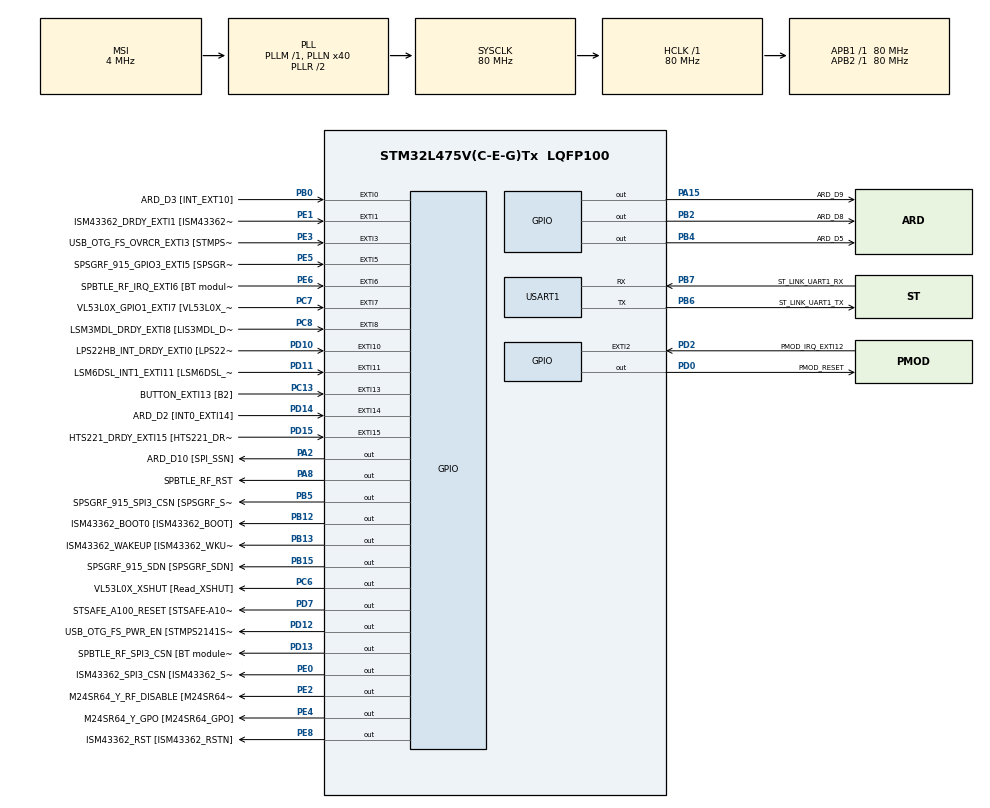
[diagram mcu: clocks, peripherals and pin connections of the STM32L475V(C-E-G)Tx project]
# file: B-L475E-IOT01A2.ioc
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Mcu.Family=STM32L4
Mcu.Name=STM32L475V(C-E-G)Tx
Mcu.Package=LQFP100
NVIC.EXTI15_10_IRQn=true\:0\:0\:false\:false\:true\:true\:true\:true
NVIC.EXTI9_5_IRQn=true\:0\:0\:false\:false\:true\:true\:true\:true
NVIC.PriorityGroup=NVIC_PRIORITYGROUP_4
PA0.GPIO_Label=ARD_D1 [UART4_TX]
PA0.Signal=UART4_TX
PA1.GPIO_Label=ARD_D0 [UART4_RX]
PA1.Signal=UART4_RX
PA10.GPIO_Label=USB_OTG_FS_ID
PA10.Signal=USB_OTG_FS_ID
PA11.GPIO_Label=USB_OTG_FS_DM
PA11.Signal=USB_OTG_FS_DM
PA12.GPIO_Label=USB_OTG_FS_DP
PA12.Signal=USB_OTG_FS_DP
PA13\ (JTMS-SWDIO).GPIO_Label=SYS_JTMS_SWDIO
PA13\ (JTMS-SWDIO).Signal=SYS_JTMS-SWDIO
PA14\ (JTCK-SWCLK).GPIO_Label=SYS_JTCK_SWCLK
PA14\ (JTCK-SWCLK).Signal=SYS_JTCK-SWCLK
PA15\ (JTDI).GPIO_Label=ARD_D9
PA15\ (JTDI).Signal=GPIO_Output
PA2.GPIO_Label=ARD_D10 [SPI_SSN]
PA2.Signal=GPIO_Output
PA3.GPIO_Label=ARD_D4
PA3.Signal=S_TIM2_CH4
PA4.GPIO_Label=ARD_D7
PA4.Signal=ADCx_IN9
PA5.GPIO_Label=ARD_D13 [SPI1_SCK]
PA5.Signal=SPI1_SCK
PA6.GPIO_Label=ARD_D12 [SPI1_MISO]
PA6.Signal=SPI1_MISO
PA7.GPIO_Label=ARD_D11 [SPI1_MOSI]
PA7.Signal=SPI1_MOSI
PA8.GPIO_Label=SPBTLE_RF_RST
PA8.Signal=GPIO_Output
PA9.GPIO_Label=USB_OTG_FS_VBUS [STMPS2141STR_OUT]
PA9.Signal=USB_OTG_FS_VBUS
PB0.GPIO_Label=ARD_D3 [INT_EXT10]
PB0.Signal=GPXTI0
PB1.GPIO_Label=ARD_D6 [ADC1_IN6]
PB1.Signal=ADCx_IN16
PB10.GPIO_Label=INTERNAL_I2C2_SCL [VL53L0X_SCL]
PB10.Signal=I2C2_SCL
PB11.GPIO_Label=INTERNAL_I2C2_SDA [VL53L0X_SDA]
PB11.Signal=I2C2_SDA
PB12.GPIO_Label=ISM43362_BOOT0 [ISM43362_BOOT]
PB12.Signal=GPIO_Output
PB13.GPIO_Label=ISM43362_WAKEUP [ISM43362_WKUP]
PB13.Signal=GPIO_Output
PB15.GPIO_Label=SPSGRF_915_SDN [SPSGRF_SDN]
PB15.Signal=GPIO_Output
PB2.GPIO_Label=ARD_D8
PB2.Signal=GPIO_Output
PB3\ (JTDO-TRACESWO).GPIO_Label=SYS_JTD0_SWO
PB3\ (JTDO-TRACESWO).Signal=SYS_JTDO-SWO
PB4\ (NJTRST).GPIO_Label=ARD_D5
PB4\ (NJTRST).Signal=GPIO_Output
PB5.GPIO_Label=SPSGRF_915_SPI3_CSN [SPSGRF_SPI_CS]
PB5.PinState=GPIO_PIN_SET
PB5.Signal=GPIO_Output
PB6.GPIO_Label=ST_LINK_UART1_TX
PB6.Mode=Asynchronous
PB6.Signal=USART1_TX
PB7.GPIO_Label=ST_LINK_UART1_RX
PB7.GPIO_PuPd=GPIO_PULLUP
PB7.Mode=Asynchronous
PB7.Signal=USART1_RX
PB8.GPIO_Label=ARD_D15 [I2C1_SCL]
PB8.Signal=I2C1_SCL
PB9.GPIO_Label=ARD_D14 [I2C1_SDA]
PB9.Signal=I2C1_SDA
PC0.GPIO_Label=ARD_A5 [ADC]
PC0.Signal=ADCx_IN1
PC1.GPIO_Label=ARD_A4 [ADC]
PC1.Signal=ADCx_IN2
PC10.GPIO_Label=INTERNAL_SPI3_SCK [BT module_SPI_SCLK] [ISM43362_SCK]
PC10.Signal=SPI3_SCK
PC11.GPIO_Label=INTERNAL_SPI3_MISO [BT module_SPI_MISO] [ISM43362_MISO]
PC11.Signal=SPI3_MISO
PC12.GPIO_Label=INTERNAL_SPI3_MOSI [BT module_SPI_MOSI] [ISM43362_MOSI]
PC12.Signal=SPI3_MOSI
PC13.GPIO_Label=BUTTON_EXTI13 [B2]
PC13.GPIO_ModeDefaultEXTI=GPIO_MODE_IT_FALLING
PC13.Signal=GPXTI13
PC14-OSC32_IN\ (PC14).Signal=RCC_OSC32_IN
PC15-OSC32_OUT\ (PC15).Signal=RCC_OSC32_OUT
PC2.GPIO_Label=ARD_A3 [ADC]
PC2.Signal=ADCx_IN3
PC3.GPIO_Label=ARD_A2 [ADC]
PC3.Signal=ADCx_IN4
PC4.GPIO_Label=ARD_A1 [ADC]
PC4.Signal=ADCx_IN13
PC5.GPIO_Label=ARD_A0 [ADC]
PC5.Signal=ADCx_IN14
PC6.GPIO_Label=VL53L0X_XSHUT [Read_XSHUT]
PC6.Signal=GPIO_Output
PC7.GPIO_Label=VL53L0X_GPIO1_EXTI7 [VL53L0X_GPIO1]
PC7.Signal=GPXTI7
PC8.GPIO_Label=LSM3MDL_DRDY_EXTI8 [LIS3MDL_DRDY]
PC8.Signal=GPXTI8
PD0.GPIO_Label=PMOD_RESET
PD0.Signal=GPIO_Output
PD1.GPIO_Label=PMOD_SPI2_SCK
PD1.Signal=SPI2_SCK
PD10.GPIO_Label=LPS22HB_INT_DRDY_EXTI0 [LPS22HB_INT_DRDY] 
PD10.Signal=GPXTI10
PD11.GPIO_Label=LSM6DSL_INT1_EXTI11 [LSM6DSL_INT1]
PD11.Signal=GPXTI11
PD12.GPIO_Label=USB_OTG_FS_PWR_EN [STMPS2141STR_EN]
PD12.Signal=GPIO_Output
PD13.GPIO_Label=SPBTLE_RF_SPI3_CSN [BT module_SPI_CS]
PD13.PinState=GPIO_PIN_SET
PD13.Signal=GPIO_Output
PD14.GPIO_Label=ARD_D2 [INT0_EXTI14]
PD14.Signal=GPXTI14
PD15.GPIO_Label=HTS221_DRDY_EXTI15 [HTS221_DRDY]
PD15.Signal=GPXTI15
PD2.GPIO_Label=PMOD_IRQ_EXTI12
PD2.Signal=GPXTI2
PD3.GPIO_Label=PMOD_UART2_CTS
PD3.Signal=USART2_CTS
PD4.GPIO_Label=PMOD_UART2_RTS
PD4.Signal=USART2_RTS
PD5.GPIO_Label=PMOD_UART2_TX
PD5.Signal=USART2_TX
PD6.GPIO_Label=PMOD_UART2_RX
PD6.Signal=USART2_RX
PD7.GPIO_Label=STSAFE_A100_RESET [STSAFE-A100_RESET]
PD7.Signal=GPIO_Output
PD8.GPIO_Label=INTERNAL_UART3_TX [ISM43362_RX]
PD8.Signal=USART3_TX
PD9.GPIO_Label=INTERNAL_UART3_RX [ISM43362_TX]
PD9.Signal=USART3_RX
PE0.GPIO_Label=ISM43362_SPI3_CSN [ISM43362_SSN]
PE0.PinState=GPIO_PIN_SET
PE0.Signal=GPIO_Output
PE1.GPIO_Label=ISM43362_DRDY_EXTI1 [ISM43362_DATARDY]
PE1.Signal=GPXTI1
PE10.GPIO_Label=QUADSPI_CLK [MX25R6435F_SCLK]
PE10.Signal=QUADSPI_CLK
PE11.GPIO_Label=QUADSPI_NCS [MX25R6435F_SCLK]
PE11.Signal=QUADSPI_NCS
PE12.GPIO_Label=OQUADSPI_BK1_IO0 [MX25R6435F_IO0]
PE12.Signal=QUADSPI_BK1_IO0
PE13.GPIO_Label=QUADSPI_BK1_IO1 [MX25R6435F_IO1]
PE13.Signal=QUADSPI_BK1_IO1
PE14.GPIO_Label=QUAD_SPI_BK1_IO2 [MX25R6435F_IO2]
PE14.Signal=QUADSPI_BK1_IO2
PE15.GPIO_Label=QUAD_SPI_BK1_IO3 [MX25R6435F_IO3]
PE15.Signal=QUADSPI_BK1_IO3
PE2.GPIO_Label=M24SR64_Y_RF_DISABLE [M24SR64_RFDIS]
PE2.Signal=GPIO_Output
PE3.GPIO_Label=USB_OTG_FS_OVRCR_EXTI3 [STMPS2141STR_FAULT]
PE3.Signal=GPXTI3
PE4.GPIO_Label=M24SR64_Y_GPO [M24SR64_GPO]
PE4.Signal=GPIO_Output
PE5.GPIO_Label=SPSGRF_915_GPIO3_EXTI5 [SPSGRF_GPIO_3]
PE5.Signal=GPXTI5
PE6.GPIO_Label=SPBTLE_RF_IRQ_EXTI6 [BT module_SPI_IRQ]
PE6.Signal=GPXTI6
PE7.GPIO_Label=DFSDM1_DATIN2 [MP34DT01_DOUT]
PE7.Signal=S_DATAIN2DFSDM1
PE8.GPIO_Label=ISM43362_RST [ISM43362_RSTN]
PE8.Signal=GPIO_Output
PE9.GPIO_Label=DFSDM1_CKOUT [MP34DT01_CLK]
PE9.Signal=S_CKOUTDFSDM1
ProjectManager.HeapSize=0x800
ProjectManager.StackSize=0x800
ProjectManager.TargetToolchain=STM32CubeIDE
RCC.ADCFreq_Value=48000000
RCC.AHBFreq_Value=80000000
RCC.APB1Freq_Value=80000000
RCC.APB1TimFreq_Value=80000000
RCC.APB2Freq_Value=80000000
RCC.APB2TimFreq_Value=80000000
RCC.CortexFreq_Value=80000000
RCC.HCLKFreq_Value=80000000
RCC.HSE_VALUE=8000000
RCC.HSI_VALUE=16000000
RCC.LSE_VALUE=32768
RCC.MSI_VALUE=4000000
RCC.PLLN=40
RCC.PLLSAI1N=24
RCC.SYSCLKFreq_VALUE=80000000
RCC.SYSCLKSource=RCC_SYSCLKSOURCE_PLLCLK
RCC.USBFreq_Value=48000000
RCC.VCOOutputFreq_Value=160000000
SH.ADCx_IN1.0=ADC1_IN1
SH.ADCx_IN13.0=ADC1_IN13
SH.ADCx_IN14.0=ADC1_IN14
SH.ADCx_IN16.0=ADC1_IN16
SH.ADCx_IN2.0=ADC1_IN2
SH.ADCx_IN3.0=ADC1_IN3
SH.ADCx_IN4.0=ADC1_IN4
SH.ADCx_IN9.0=ADC1_IN9
SH.S_CKOUTDFSDM1.0=DFSDM1_CKOUT
SH.S_DATAIN2DFSDM1.0=DFSDM1_DATIN2
SH.S_TIM2_CH4.0=TIM2_CH4
STMicroelectronics.X-CUBE-AI.9.0.0.ActivationBufferSizeList=16424
STMicroelectronics.X-CUBE-AI.9.0.0.ActivationBuffers=(ai_handle) 0x20000000
STMicroelectronics.X-CUBE-AI.9.0.0.ApplicationCcDeviceJjApplication=SystemPerformance
STMicroelectronics.X-CUBE-AI.9.0.0.BSP.number=1
STMicroelectronics.X-CUBE-AI.9.0.0.HeapSize=0x800
STMicroelectronics.X-CUBE-AI.9.0.0.InternalRamActivationBufferMaxSize=AI_NETWORK_DATA_ACTIVATIONS_SIZE
STMicroelectronics.X-CUBE-AI.9.0.0.MaximumNumberOfInputLayer=1
STMicroelectronics.X-CUBE-AI.9.0.0.MaximumNumberOfOutputLayer=1
STMicroelectronics.X-CUBE-AI.9.0.0.MaximumSizeOfInputLayer=1
STMicroelectronics.X-CUBE-AI.9.0.0.MaximumSizeOfOutputLayer=1
STMicroelectronics.X-CUBE-AI.9.0.0.ModelActualCompression-8cbc4c2005697732c1ca3b04ca8a21cb7bfaffcdd66049f3c0017867f80ad340=0.0
STMicroelectronics.X-CUBE-AI.9.0.0.ModelCompression-8cbc4c2005697732c1ca3b04ca8a21cb7bfaffcdd66049f3c0017867f80ad340=Lossless
STMicroelectronics.X-CUBE-AI.9.0.0.ModelFlashOccupation-8cbc4c2005697732c1ca3b04ca8a21cb7bfaffcdd66049f3c0017867f80ad340=44308
STMicroelectronics.X-CUBE-AI.9.0.0.ModelHashList=8cbc4c2005697732c1ca3b04ca8a21cb7bfaffcdd66049f3c0017867f80ad340
STMicroelectronics.X-CUBE-AI.9.0.0.ModelKind-8cbc4c2005697732c1ca3b04ca8a21cb7bfaffcdd66049f3c0017867f80ad340=KERAS
STMicroelectronics.X-CUBE-AI.9.0.0.ModelMacc-8cbc4c2005697732c1ca3b04ca8a21cb7bfaffcdd66049f3c0017867f80ad340=146161
STMicroelectronics.X-CUBE-AI.9.0.0.ModelName-8cbc4c2005697732c1ca3b04ca8a21cb7bfaffcdd66049f3c0017867f80ad340=network
STMicroelectronics.X-CUBE-AI.9.0.0.ModelNameList=network
STMicroelectronics.X-CUBE-AI.9.0.0.ModelRamOccupation-8cbc4c2005697732c1ca3b04ca8a21cb7bfaffcdd66049f3c0017867f80ad340=16424
STMicroelectronics.X-CUBE-AI.9.0.0.ModelStructureFile-8cbc4c2005697732c1ca3b04ca8a21cb7bfaffcdd66049f3c0017867f80ad340=af_lstm_weights.194-0.11.h5
STMicroelectronics.X-CUBE-AI.9.0.0.ModelType-8cbc4c2005697732c1ca3b04ca8a21cb7bfaffcdd66049f3c0017867f80ad340=STM32Cube.AI MCU runtime
STMicroelectronics.X-CUBE-AI.9.0.0.ReadyForCodeGeneration=true
STMicroelectronics.X-CUBE-AI.9.0.0.StackSize=0x800
STMicroelectronics.X-CUBE-AI.9.0.0.WorkingBufferStartAddrList=0xFFFFFFFF
STMicroelectronics.X-CUBE-AI.9.0.0.XAaCUBEAaAICcArtificialOoIntelligenceJjCore=true
STMicroelectronics.X-CUBE-AI.9.0.0.copyWeightToRam=false
STMicroelectronics.X-CUBE-AI.9.0.0.copyWeightToRam-8cbc4c2005697732c1ca3b04ca8a21cb7bfaffcdd66049f3c0017867f80ad340=false
STMicroelectronics.X-CUBE-AI.9.0.0.customLayerConfigEnabled=false
STMicroelectronics.X-CUBE-AI.9.0.0.customLayerConfigEnabled-8cbc4c2005697732c1ca3b04ca8a21cb7bfaffcdd66049f3c0017867f80ad340=false
STMicroelectronics.X-CUBE-AI.9.0.0.memoryPool0driver-8cbc4c2005697732c1ca3b04ca8a21cb7bfaffcdd66049f3c0017867f80ad340=RAM
STMicroelectronics.X-CUBE-AI.9.0.0.memoryPool0id-8cbc4c2005697732c1ca3b04ca8a21cb7bfaffcdd66049f3c0017867f80ad340=0
STMicroelectronics.X-CUBE-AI.9.0.0.memoryPool0max-8cbc4c2005697732c1ca3b04ca8a21cb7bfaffcdd66049f3c0017867f80ad340=96
STMicroelectronics.X-CUBE-AI.9.0.0.memoryPool0name-8cbc4c2005697732c1ca3b04ca8a21cb7bfaffcdd66049f3c0017867f80ad340=POOL_0_RAM
STMicroelectronics.X-CUBE-AI.9.0.0.memoryPool0size-8cbc4c2005697732c1ca3b04ca8a21cb7bfaffcdd66049f3c0017867f80ad340=79
STMicroelectronics.X-CUBE-AI.9.0.0.memoryPool0start-8cbc4c2005697732c1ca3b04ca8a21cb7bfaffcdd66049f3c0017867f80ad340=0x20000000
STMicroelectronics.X-CUBE-AI.9.0.0.memoryPool0used-8cbc4c2005697732c1ca3b04ca8a21cb7bfaffcdd66049f3c0017867f80ad340=13360.0
STMicroelectronics.X-CUBE-AI.9.0.0.memoryPool1driver-8cbc4c2005697732c1ca3b04ca8a21cb7bfaffcdd66049f3c0017867f80ad340=RAM2
STMicroelectronics.X-CUBE-AI.9.0.0.memoryPool1id-8cbc4c2005697732c1ca3b04ca8a21cb7bfaffcdd66049f3c0017867f80ad340=2
STMicroelectronics.X-CUBE-AI.9.0.0.memoryPool1max-8cbc4c2005697732c1ca3b04ca8a21cb7bfaffcdd66049f3c0017867f80ad340=32
STMicroelectronics.X-CUBE-AI.9.0.0.memoryPool1name-8cbc4c2005697732c1ca3b04ca8a21cb7bfaffcdd66049f3c0017867f80ad340=POOL_1_RAM2
STMicroelectronics.X-CUBE-AI.9.0.0.memoryPool1size-8cbc4c2005697732c1ca3b04ca8a21cb7bfaffcdd66049f3c0017867f80ad340=32
STMicroelectronics.X-CUBE-AI.9.0.0.memoryPool1start-8cbc4c2005697732c1ca3b04ca8a21cb7bfaffcdd66049f3c0017867f80ad340=0x10000000
STMicroelectronics.X-CUBE-AI.9.0.0.memoryPool1used-8cbc4c2005697732c1ca3b04ca8a21cb7bfaffcdd66049f3c0017867f80ad340=0.0
STMicroelectronics.X-CUBE-AI.9.0.0.noOnnxIoTranspose=false
STMicroelectronics.X-CUBE-AI.9.0.0.noOnnxIoTranspose-8cbc4c2005697732c1ca3b04ca8a21cb7bfaffcdd66049f3c0017867f80ad340=false
STMicroelectronics.X-CUBE-AI.9.0.0.useInputAllocation=true
STMicroelectronics.X-CUBE-AI.9.0.0.useInputAllocation-8cbc4c2005697732c1ca3b04ca8a21cb7bfaffcdd66049f3c0017867f80ad340=true
STMicroelectronics.X-CUBE-AI.9.0.0.useOutputAllocation=true
STMicroelectronics.X-CUBE-AI.9.0.0.useOutputAllocation-8cbc4c2005697732c1ca3b04ca8a21cb7bfaffcdd66049f3c0017867f80ad340=true
STMicroelectronics.X-CUBE-AI.9.0.00.BSP.STBoard=false
STMicroelectronics.X-CUBE-AI.9.0.00.BSP.api=Unknown
STMicroelectronics.X-CUBE-AI.9.0.00.BSP.condition=\!SEMDeviceJjApplicationJjApplicationTemplate
STMicroelectronics.X-CUBE-AI.9.0.00.BSP.instance=USART1
STMicroelectronics.X-CUBE-AI.9.0.00.BSP.ip=USART
STMicroelectronics.X-CUBE-AI.9.0.00.BSP.mode=Asynchronous
STMicroelectronics.X-CUBE-AI.9.0.00.BSP.name=COM Port
STMicroelectronics.X-CUBE-AI.9.0.00.BSP.solution=USART1
TIM16.AutoReloadPreload=TIM_AUTORELOAD_PRELOAD_DISABLE
TIM16.Period=65536-1
TIM16.Prescaler=80-1
USART1.VirtualMode-Asynchronous=VM_ASYNC
VP_STMicroelectronics.X-CUBE-AI_VS_ArtificialOoIntelligenceJjXAaCUBEAaAI_9.0.0.Mode=ArtificialOoIntelligenceJjXAaCUBEAaAI
VP_STMicroelectronics.X-CUBE-AI_VS_DeviceJjApplication_9.0.0.Mode=DeviceJjApplication
VP_TIM16_VS_ClockSourceINT.Mode=Enable_Timer
board=B-L475E-IOT01A2

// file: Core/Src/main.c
/* USER CODE BEGIN Header */
/**
  ******************************************************************************
  * @file           : main.c
  * @brief          : Main program body
  ******************************************************************************
  * @attention
  *
  * Copyright (c) 2024 STMicroelectronics.
  * All rights reserved.
  *
  * This software is licensed under terms that can be found in the LICENSE file
  * in the root directory of this software component.
  * If no LICENSE file comes with this software, it is provided AS-IS.
  *
  ******************************************************************************
  */
/* USER CODE END Header */
#include "main.h"
#include "app_x-cube-ai.h"

/* USER CODE BEGIN Includes */
#include "ai_device_adaptor.h"
#include <string.h>
#include <stdlib.h>
#include "tim.h"
/* USER CODE END Includes */

/* USER CODE BEGIN PD */
#define END_MARKER 0xFF
/* USER CODE END PD */

UART_HandleTypeDef huart1;

void SystemClock_Config(void);
/* USER CODE BEGIN PFP */
static int* UART_ReceiveData(void);
void free_received_data(int* data);
/* USER CODE END PFP */

int main(void)
{

  /* MCU Configuration--------------------------------------------------------*/

  /* Reset of all peripherals, Initializes the Flash interface and the Systick. */
  HAL_Init();

  /* USER CODE BEGIN Init */
  MX_USART1_UART_Init();
  /* USER CODE END Init */

  /* Configure the system clock */
  SystemClock_Config();

  /* Initialize all configured peripherals */
  MX_X_CUBE_AI_Init();
  /* USER CODE BEGIN 2 */
  MX_TIM16_Init();

  /* USER CODE END 2 */

  /* Infinite loop */
  /* USER CODE BEGIN WHILE */
  while (1)
  {
	  int* receivedData = UART_ReceiveData();
	  MX_X_CUBE_AI_Process(receivedData);
	  free_received_data(receivedData);
    /* USER CODE END WHILE */

  }
}

void SystemClock_Config(void)
{
  RCC_OscInitTypeDef RCC_OscInitStruct = {0};
  RCC_ClkInitTypeDef RCC_ClkInitStruct = {0};

  /** Configure the main internal regulator output voltage
  */
  if (HAL_PWREx_ControlVoltageScaling(PWR_REGULATOR_VOLTAGE_SCALE1) != HAL_OK)
  {
    Error_Handler();
  }

  /** Initializes the RCC Oscillators according to the specified parameters
  * in the RCC_OscInitTypeDef structure.
  */
  RCC_OscInitStruct.OscillatorType = RCC_OSCILLATORTYPE_MSI;
  RCC_OscInitStruct.MSIState = RCC_MSI_ON;
  RCC_OscInitStruct.MSICalibrationValue = 0;
  RCC_OscInitStruct.MSIClockRange = RCC_MSIRANGE_6;
  RCC_OscInitStruct.PLL.PLLState = RCC_PLL_ON;
  RCC_OscInitStruct.PLL.PLLSource = RCC_PLLSOURCE_MSI;
  RCC_OscInitStruct.PLL.PLLM = 1;
  RCC_OscInitStruct.PLL.PLLN = 40;
  RCC_OscInitStruct.PLL.PLLP = RCC_PLLP_DIV7;
  RCC_OscInitStruct.PLL.PLLQ = RCC_PLLQ_DIV2;
  RCC_OscInitStruct.PLL.PLLR = RCC_PLLR_DIV2;
  if (HAL_RCC_OscConfig(&RCC_OscInitStruct) != HAL_OK)
  {
    Error_Handler();
  }

  /** Initializes the CPU, AHB and APB buses clocks
  */
  RCC_ClkInitStruct.ClockType = RCC_CLOCKTYPE_HCLK|RCC_CLOCKTYPE_SYSCLK
                              |RCC_CLOCKTYPE_PCLK1|RCC_CLOCKTYPE_PCLK2;
  RCC_ClkInitStruct.SYSCLKSource = RCC_SYSCLKSOURCE_PLLCLK;
  RCC_ClkInitStruct.AHBCLKDivider = RCC_SYSCLK_DIV1;
  RCC_ClkInitStruct.APB1CLKDivider = RCC_HCLK_DIV1;
  RCC_ClkInitStruct.APB2CLKDivider = RCC_HCLK_DIV1;

  if (HAL_RCC_ClockConfig(&RCC_ClkInitStruct, FLASH_LATENCY_4) != HAL_OK)
  {
    Error_Handler();
  }
}

void MX_USART1_UART_Init(void)
{

  huart1.Instance = USART1;
  huart1.Init.BaudRate = 115200;
  huart1.Init.WordLength = UART_WORDLENGTH_8B;
  huart1.Init.StopBits = UART_STOPBITS_1;
  huart1.Init.Parity = UART_PARITY_NONE;
  huart1.Init.Mode = UART_MODE_TX_RX;
  huart1.Init.HwFlowCtl = UART_HWCONTROL_NONE;
  huart1.Init.OverSampling = UART_OVERSAMPLING_16;
  huart1.Init.OneBitSampling = UART_ONE_BIT_SAMPLE_DISABLE;
  huart1.AdvancedInit.AdvFeatureInit = UART_ADVFEATURE_NO_INIT;
  if (HAL_UART_Init(&huart1) != HAL_OK)
  {
    Error_Handler();
  }

}

/* USER CODE BEGIN 4 */
static int* UART_ReceiveData(void) {
    uint8_t rxBuffer[205];  // Buffer to store received data
    int16_t *values = (int16_t*)malloc(41 * sizeof(int16_t));  // Dynamically allocate memory for parsed values
    if (values == NULL) {
        LC_PRINT("Memory allocation failed.\r\n");
        return NULL;  // Return NULL if memory allocation fails
    }

    int numValues = 0;  // Number of parsed values

    // Receive data from UART
    HAL_UART_Receive(&huart1, rxBuffer, sizeof(rxBuffer), HAL_MAX_DELAY);

    LC_PRINT("\r\n");

    rxBuffer[204] = '\0';  // Ensure null-terminated string (205th byte is the last byte in rxBuffer)

    // Parse the received data
    char *token = strtok((char *)rxBuffer, ",");
    while (token != NULL) {
        int16_t value = (int16_t)strtol(token, NULL, 10);  // Convert string to int16_t (decimal)

        // Stop if end value (0xFF) is reached
        if (value == 0xFF) {
            break;
        }

        if (numValues < 41) {
            values[numValues++] = value;  // Store value in the array
        }

        token = strtok(NULL, ",");
    }

    return values;  // Return the pointer to the dynamically allocated array
}
void free_received_data(int* data) {
    free(data);  // Free the dynamically allocated memory
}

/* USER CODE END 4 */

void Error_Handler(void)
{
  __disable_irq();
  while (1)
  {
  }
}
